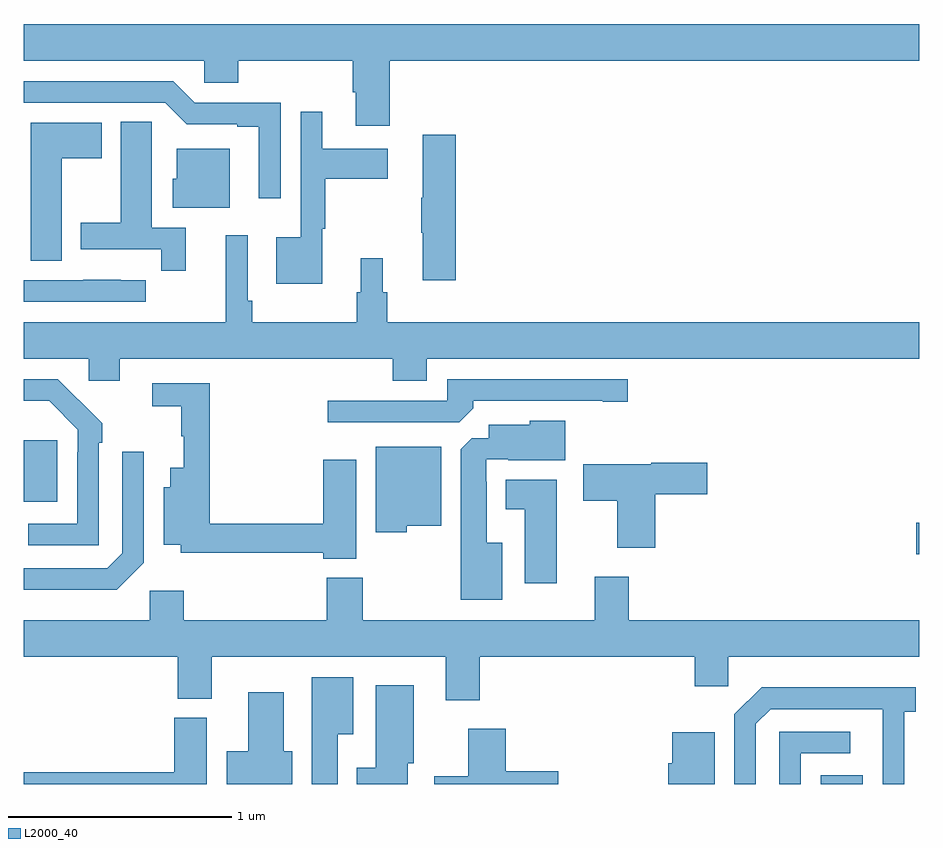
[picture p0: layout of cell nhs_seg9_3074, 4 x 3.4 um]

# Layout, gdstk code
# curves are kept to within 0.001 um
import gdstk
lib = gdstk.Library(unit=1e-6, precision=1e-09)
def R(c, l, rs):  # rectangles x0, y0, x1, y1
    for r in rs: c.add(gdstk.rectangle(r[:2], r[2:], *l))
def P(c, l, *ps):  # polygons
    for p in ps: c.add(gdstk.Polygon(p, *l))
L2000_40 = (2000, 40)

nhs_seg9_3074 = lib.new_cell('nhs_seg9_3074')
R(nhs_seg9_3074, L2000_40, [(290.561,1214.5,290.749,1214.539), (290.988,1215.526,291,1215.668), (287,1215.761,287.149,1216.036)])
P(nhs_seg9_3074, L2000_40, [(287,1217.732),(287.805,1217.732),(287.805,1217.634),(287.957,1217.634),(287.957,1217.732),(288.47,1217.732),(288.47,1217.59),(288.482,1217.59),(288.482,1217.442),(288.635,1217.442),(288.635,1217.732),(291,1217.732),(291,1217.896),(287,1217.896)],
  [(288.147,1217.544),(287.763,1217.544),(287.667,1217.64),(287,1217.64),(287,1217.544),(287.631,1217.544),(287.727,1217.448),(287.954,1217.448),(287.954,1217.436),(288.05,1217.436),(288.05,1217.118),(288.147,1217.118)],
  [(288.334,1216.98),(288.346,1216.98),(288.346,1217.204),(288.625,1217.204),(288.625,1217.338),(288.334,1217.338),(288.334,1217.503),(288.237,1217.503),(288.237,1216.942),(288.128,1216.942),(288.128,1216.736),(288.334,1216.736)],
  [(287.723,1216.986),(287.572,1216.986),(287.572,1217.348),(287.571,1217.348),(287.571,1217.459),(287.432,1217.459),(287.432,1217.007),(287.255,1217.007),(287.255,1216.89),(287.614,1216.89),(287.614,1216.794),(287.723,1216.794)],
  [(287.17,1217.296),(287.347,1217.296),(287.347,1217.455),(287.03,1217.455),(287.03,1216.945),(287.031,1216.945),(287.031,1216.837),(287.17,1216.837)],
  [(288.929,1217.401),(288.782,1217.401),(288.782,1217.12),(288.775,1217.12),(288.775,1216.964),(288.782,1216.964),(288.782,1216.752),(288.929,1216.752)],
  [(287.92,1217.338),(287.684,1217.338),(287.684,1217.205),(287.666,1217.205),(287.666,1217.075),(287.92,1217.075)],
  [(288.799,1216.4),(291,1216.4),(291,1216.564),(288.623,1216.564),(288.623,1216.698),(288.604,1216.698),(288.604,1216.849),(288.506,1216.849),(288.506,1216.698),(288.487,1216.698),(288.487,1216.564),(288.02,1216.564),(288.02,1216.66),(288,1216.66),(288,1216.951),(287.903,1216.951),(287.903,1216.564),(287,1216.564),(287,1216.4),(287.289,1216.4),(287.289,1216.302),(287.428,1216.302),(287.428,1216.4),(288.647,1216.4),(288.647,1216.301),(288.799,1216.301)],
  [(287.545,1216.752),(287.432,1216.752),(287.432,1216.753),(287.266,1216.753),(287.266,1216.752),(287,1216.752),(287,1216.656),(287.545,1216.656)],
  [(289.007,1216.178),(289.007,1216.212),(289.586,1216.212),(289.586,1216.207),(289.699,1216.207),(289.699,1216.308),(288.891,1216.308),(288.891,1216.212),(288.357,1216.212),(288.357,1216.116),(288.945,1216.116)],
  [(287.334,1216.025),(287.349,1216.025),(287.349,1216.113),(287.152,1216.308),(287,1216.308),(287,1216.212),(287.113,1216.212),(287.241,1216.083),(287.241,1215.983),(287.238,1215.983),(287.238,1215.663),(287.019,1215.663),(287.019,1215.567),(287.334,1215.567)],
  [(288.484,1215.949),(288.338,1215.949),(288.338,1215.662),(287.831,1215.662),(287.831,1216.29),(287.574,1216.29),(287.574,1216.189),(287.703,1216.189),(287.703,1216.053),(287.714,1216.053),(287.714,1215.913),(287.654,1215.913),(287.654,1215.826),(287.624,1215.826),(287.624,1215.569),(287.7,1215.569),(287.7,1215.534),(288.338,1215.534),(288.338,1215.506),(288.484,1215.506)],
  [(289.138,1215.577),(289.069,1215.577),(289.069,1215.851),(289.065,1215.851),(289.065,1215.951),(289.165,1215.951),(289.165,1215.947),(289.42,1215.947),(289.42,1216.123),(289.26,1216.123),(289.26,1216.105),(289.076,1216.105),(289.076,1216.044),(289.002,1216.044),(288.953,1215.995),(288.953,1215.323),(289.138,1215.323)],
  [(288.711,1215.653),(288.865,1215.653),(288.865,1216.006),(288.572,1216.006),(288.572,1215.626),(288.711,1215.626)],
  [(287.535,1215.489),(287.535,1215.985),(287.439,1215.985),(287.439,1215.531),(287.373,1215.465),(287,1215.465),(287,1215.368),(287.414,1215.368)],
  [(289.82,1215.794),(290.053,1215.794),(290.053,1215.936),(289.803,1215.936),(289.803,1215.928),(289.5,1215.928),(289.5,1215.766),(289.652,1215.766),(289.652,1215.555),(289.82,1215.555)],
  [(289.381,1215.859),(289.154,1215.859),(289.154,1215.728),(289.238,1215.728),(289.238,1215.396),(289.381,1215.396)],
  [(289.037,1215.068),(289.997,1215.068),(289.997,1214.937),(290.148,1214.937),(290.148,1215.068),(291,1215.068),(291,1215.232),(289.703,1215.232),(289.703,1215.427),(289.55,1215.427),(289.55,1215.232),(288.513,1215.232),(288.513,1215.421),(288.353,1215.421),(288.353,1215.232),(287.714,1215.232),(287.714,1215.364),(287.562,1215.364),(287.562,1215.232),(287,1215.232),(287,1215.068),(287.687,1215.068),(287.687,1214.881),(287.839,1214.881),(287.839,1215.068),(288.884,1215.068),(288.884,1214.874),(289.037,1214.874)],
  [(288.403,1214.723),(288.472,1214.723),(288.472,1214.977),(288.287,1214.977),(288.287,1214.5),(288.403,1214.5)],
  [(288.715,1214.592),(288.742,1214.592),(288.742,1214.941),(288.572,1214.941),(288.572,1214.572),(288.488,1214.572),(288.488,1214.5),(288.715,1214.5)],
  [(290.271,1214.769),(290.337,1214.835),(290.837,1214.835),(290.838,1214.5),(290.934,1214.5),(290.934,1214.822),(290.986,1214.822),(290.986,1214.932),(290.296,1214.932),(290.175,1214.811),(290.175,1214.5),(290.271,1214.5)],
  [(288.199,1214.647),(288.16,1214.647),(288.16,1214.911),(288.002,1214.911),(288.002,1214.647),(287.906,1214.647),(287.906,1214.5),(288.199,1214.5)],
  [(287.818,1214.796),(287.672,1214.796),(287.672,1214.552),(287,1214.552),(287,1214.5),(287.818,1214.5)],
  [(289.387,1214.558),(289.154,1214.558),(289.154,1214.746),(288.986,1214.746),(288.986,1214.535),(288.834,1214.535),(288.834,1214.5),(289.387,1214.5)],
  [(290.472,1214.637),(290.692,1214.637),(290.692,1214.733),(290.376,1214.733),(290.376,1214.5),(290.472,1214.5)],
  [(290.086,1214.731),(289.898,1214.731),(289.898,1214.592),(289.879,1214.592),(289.879,1214.5),(290.086,1214.5)])

lib.write_gds('nhs_seg9_3074.gds')
